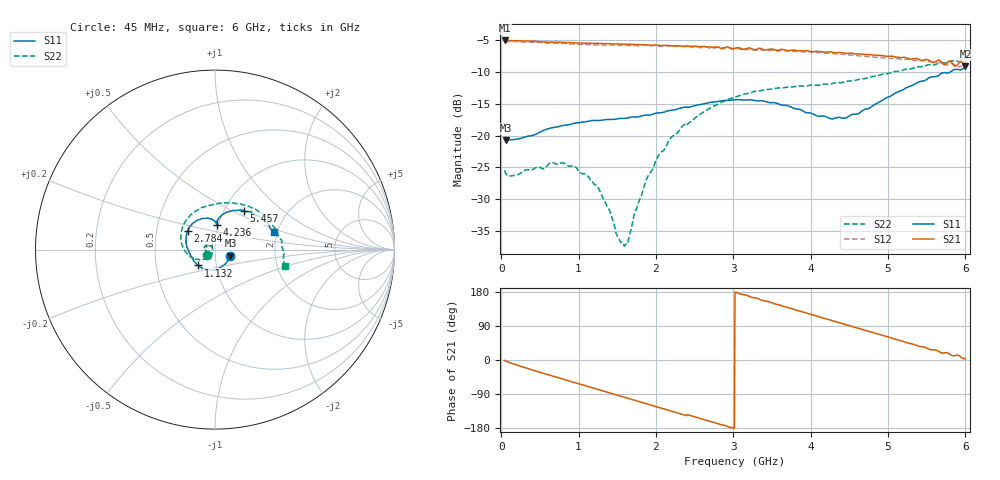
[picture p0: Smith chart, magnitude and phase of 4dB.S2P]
! C:\Users\Aljaz\OneDrive - Univerza v Ljubljani\DOKTORAT\NOVI SA\Slabilec PE43711B\meritve\prototip2\4dB.S2P
! Touchstone 1.1 file saved by VNA.EXE V1.65 (www.ke5fx.com/gpib/readme.htm)
! 18. 04. 2022 18:03:50
!  Source: HP8510C.07.14: Aug 26  1998
!  Min freq: 4.500000E+007 Hz
!  Max freq: 6.000000E+009 Hz
!  Points: 801
!  Params: S11 S21 S12 S22
# GHZ S DB R 50
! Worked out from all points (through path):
!   801 points, 45 MHz to 6 GHz, reference 50 ohm
!   highest |S21| = -5.03 dB at 52.44 MHz (marker M1); lowest = -9.1 dB at 6 GHz (marker M2)
!   group delay of S21, straight-line fit = 164 ps
!   lowest |S11| = -20.7 dB at 67.33 MHz (marker M3), VSWR 1.20, Z = 59.2 - j4.02 ohm
!   |S11| at or under -10 dB: start of sweep to 5.802 GHz
!   |S22| runs from -37.4 to -8.0 dB; largest |S21 - S12| = 0.034
!   S11 on the Smith chart (normalised r, x): 45 MHz: 1.19, -0.08; 1.132 GHz: 0.81, -0.15; 2.784 GHz: 0.72, +0.16; 4.236 GHz: 0.98, +0.27; 5.457 GHz: 1.24, +0.57; 6 GHz: 1.93, +0.43
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0.045  -20.64 -21.9  -5.04 -1.3  -5.24 -1.4  -25.46 -148.8
0.05244375  -20.67 -21.2  -5.03 -2.2  -5.24 -2.3  -25.79 -152.3
0.06733125  -20.71 -21.4  -5.05 -3.6  -5.24 -3.6  -26.10 -157.5
0.6628312  -18.76 -96.3  -5.31 -42.1  -5.42 -41.9  -24.26 174.1
1.042463  -17.87 -129.9  -5.45 -65.2  -5.68 -65.2  -25.94 150.4
1.131787  -17.74 -137.0  -5.48 -70.5  -5.68 -70.4  -26.53 145.7
1.265775  -17.63 -145.1  -5.50 -78.7  -5.74 -78.3  -28.48 140.0
1.41465  -17.47 -153.6  -5.56 -87.8  -5.74 -87.2  -32.19 140.1
1.511419  -17.35 -158.8  -5.58 -93.4  -5.80 -92.7  -36.01 155.5
1.608188  -17.28 -163.3  -5.62 -99.3  -5.80 -98.7  -37.17 -160.9
1.868719  -16.78 -173.4  -5.72 -115.1  -5.80 -114.5  -27.21 -126.4
2.032481  -16.41 -179.7  -5.77 -125.0  -5.86 -124.4  -23.14 -132.3
2.352562  -15.57 166.6  -5.96 -144.1  -5.97 -143.6  -18.40 -153.3
2.7843  -14.67 145.0  -6.05 -166.8  -6.10 -166.8  -15.15 178.3
3.0225  -14.36 131.7  -6.27 179.7  -6.43 179.1  -13.92 160.9
3.484012  -14.82 106.1  -6.39 152.1  -6.58 151.5  -12.69 129.9
4.019963  -16.54 86.7  -6.78 119.4  -6.89 118.9  -12.04 99.5
4.235831  -17.26 86.1  -6.83 106.7  -7.03 106.4  -11.93 89.0
4.608019  -16.58 86.2  -7.15 84.1  -7.44 83.9  -11.19 70.4
5.009981  -13.92 77.1  -7.52 60.2  -7.85 60.8  -10.18 49.2
5.456606  -11.40 53.0  -8.17 34.4  -8.20 34.4  -9.14 22.0
6  -9.24 16.4  -9.11 3.8  -9.11 5.3  -8.00 -12.9
